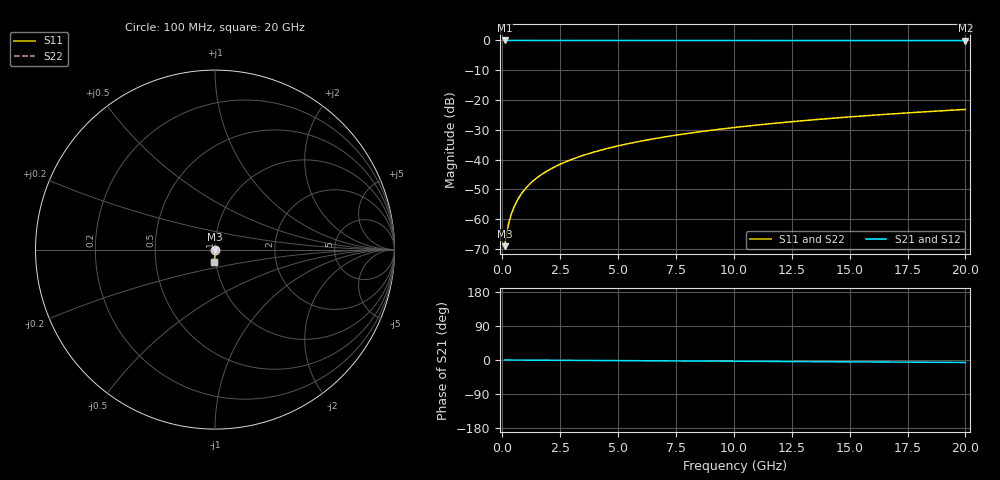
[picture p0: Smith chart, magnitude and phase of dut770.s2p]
! Touchstone file exported from HFSS 2026.1.0
!  File:  C:/ffzhzh/LocalFiles/Ansys_Project_Files/temp_train_TSV_770_1783183441_43440.aedt
!  Generated:  12:45:23 AM Jul  5, 2026
!  Design:  TSV
!  Project:  temp_train_TSV_770_1783183441_43440
! Variables:
!  h_bsmrdl = 2um
!  h_ox = 20um
!  h_rdl = 5um
!  h_sub = 54um
!  h_tmrdl = 5um
!  h_tsv = 54um
!  h_via = 3um
!  l_bsmrdl = 300um
!  l_sub = 412.46um
!  l_tmrdl = 200um
!  m_sub = 200um
!  pitch = 15.04um
!  r_tsv = 6.23um
!  s_tmrdl = 10um
!  w_bsmrdl = 18um
!  w_sub = 500um
!  w_tmrdl = 12um
!  x_tsv_center1 = 206um
!  x_tsv_center2 = 524um
!  x_tsv_center3 = 736um
!  x_tsv_center4 = 1054um
!  x_tsv_center5 = 1266um
!  x_tsv_center6 = 1584um
# GHz S MA R 50.000000
! Terminal data exported
! Port[1] = TSV1_1_T1
! Port[2] = TSV1_1_T2
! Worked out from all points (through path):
!   200 points, 100 MHz to 20 GHz, reference 50 ohm
!   highest |S21| = 0.00 dB at 100 MHz (marker M1); lowest = 0.0 dB at 20 GHz (marker M2)
!   lowest |S11| = -69.1 dB at 100 MHz (marker M3), VSWR 1.00, Z = 50 - j0.0282 ohm
!   |S11| at or under -10 dB: start of sweep to end of sweep
!   |S22| runs from -69.1 to -23.2 dB; largest |S21 - S12| = 2e-15
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0.1  0.0003521 -53.2  0.9998 -0.0  0.9998 -0.0  0.0003521 -53.2
! Gamma 0 0 0 0
! Port Impedance 50 0 50 0
0.2  0.0006224 -67.5  0.9998 -0.1  0.9998 -0.1  0.0006224 -67.5
0.3  0.0009246 -72.8  0.9997 -0.1  0.9997 -0.1  0.0009246 -72.8
0.4  0.001244 -75.7  0.9997 -0.1  0.9997 -0.1  0.001244 -75.7
0.5  0.001573 -77.6  0.9997 -0.2  0.9997 -0.2  0.001573 -77.6
0.7  0.002245 -80.2  0.9996 -0.2  0.9996 -0.2  0.002245 -80.2
0.8  0.002583 -81.2  0.9996 -0.3  0.9996 -0.3  0.002583 -81.2
1  0.003262 -82.6  0.9996 -0.3  0.9996 -0.3  0.003262 -82.6
1.2  0.003941 -83.6  0.9995 -0.4  0.9995 -0.4  0.003941 -83.6
1.4  0.00462 -84.4  0.9995 -0.5  0.9995 -0.5  0.00462 -84.4
1.7  0.005639 -85.3  0.9995 -0.6  0.9995 -0.6  0.005639 -85.3
2  0.006659 -85.9  0.9994 -0.7  0.9994 -0.7  0.006659 -85.9
2.7  0.009047 -86.9  0.9993 -0.9  0.9993 -0.9  0.009047 -86.9
3.5  0.01179 -87.6  0.9992 -1.2  0.9992 -1.2  0.01179 -87.6
4.2  0.01421 -88.1  0.9991 -1.4  0.9991 -1.4  0.01421 -88.1
5  0.01699 -88.6  0.999 -1.6  0.999 -1.6  0.01699 -88.6
6.8  0.02328 -89.6  0.9987 -2.2  0.9987 -2.2  0.02328 -89.6
8.3  0.02854 -90.3  0.9984 -2.7  0.9984 -2.7  0.02854 -90.3
10.1  0.03486 -91.1  0.9981 -3.3  0.9981 -3.3  0.03486 -91.1
13.4  0.04644 -92.5  0.9974 -4.3  0.9974 -4.3  0.04644 -92.5
16.7  0.05801 -93.7  0.9966 -5.4  0.9966 -5.4  0.05801 -93.7
20  0.06958 -94.9  0.9957 -6.4  0.9957 -6.4  0.06958 -94.9
